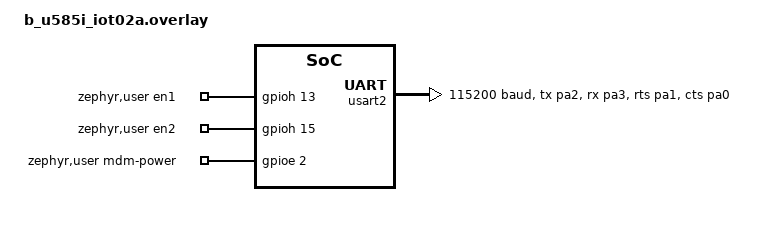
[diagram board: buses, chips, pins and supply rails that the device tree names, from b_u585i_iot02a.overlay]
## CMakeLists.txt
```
# Copyright (c) 2023 Trackunit Corporation
# SPDX-License-Identifier: Apache-2.0

cmake_minimum_required(VERSION 3.20.0)

find_package(Zephyr REQUIRED HINTS $ENV{ZEPHYR_BASE})
project(modem_sample)

target_sources(app PRIVATE "src/main.c")
```

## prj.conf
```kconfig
# Copyright (c) 2023 Trackunit Corporation
# SPDX-License-Identifier: Apache-2.0

# Modem modules
CONFIG_MODEM_MODULES=y
CONFIG_MODEM_CHAT=y
CONFIG_MODEM_CMUX=y
CONFIG_MODEM_PPP=y
CONFIG_MODEM_BACKEND_UART=y

# Networking
CONFIG_NETWORKING=y
CONFIG_NET_L2_PPP=y
CONFIG_NET_IPV4=y
CONFIG_LOG=y
CONFIG_LOG_DEFAULT_LEVEL=2

# Network management
CONFIG_NET_MGMT=y
CONFIG_NET_MGMT_EVENT=y
CONFIG_NET_CONNECTION_MANAGER=y

# Board specific configs
CONFIG_GPIO=y
CONFIG_UART_STM32=y
CONFIG_UART_INTERRUPT_DRIVEN=y
```

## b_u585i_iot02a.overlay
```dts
/ {
    aliases {
        modem-uart = &usart2;
    };

    zephyr,user {
        en1-gpios = <&gpioh 13 GPIO_ACTIVE_HIGH>;
        en2-gpios = <&gpioh 15 GPIO_ACTIVE_HIGH>;
        mdm-power-gpios = <&gpioe 2 GPIO_ACTIVE_HIGH>;
    };
};

/* BG95 */
&usart2 {
    pinctrl-0 = <&usart2_tx_pa2 &usart2_rx_pa3 &usart2_rts_pa1 &usart2_cts_pa0>;
    pinctrl-names = "default";
    current-speed = <115200>;
    status = "okay";
    hw-flow-control;
};
```

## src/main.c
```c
/*
 * Copyright (c) 2022 Trackunit Corporation
 *
 * SPDX-License-Identifier: Apache-2.0
 */

/*************************************************************************************************/
/*                                        Dependencies                                           */
/*************************************************************************************************/
#include <zephyr/kernel.h>
#include <zephyr/modem/chat.h>
#include <zephyr/modem/cmux.h>
#include <zephyr/modem/pipe.h>
#include <zephyr/modem/ppp.h>
#include <zephyr/modem//backend/uart.h>
#include <zephyr/net/ppp.h>
#include <zephyr/pm/device.h>
#include <zephyr/drivers/gpio.h>

#include <string.h>
#include <stdlib.h>

/*************************************************************************************************/
/*                                         Definitions                                           */
/*************************************************************************************************/
#warning "Please update the following defines to match your modem"
#define SAMPLE_APN  "\"trackunit.m2m\""
#define SAMPLE_CMUX "AT+CMUX=0,0,5,127,10,3,30,10,2"

/*************************************************************************************************/
/*                                           Devices                                             */
/*************************************************************************************************/
const struct device *modem_uart = DEVICE_DT_GET(DT_ALIAS(modem_uart));

/*************************************************************************************************/
/*                                            Events                                             */
/*************************************************************************************************/
#define SAMPLE_EVENT_SCRIPT_SUCCESS	 BIT(0)
#define SAMPLE_EVENT_SCRIPT_ABORT	 BIT(1)
#define SAMPLE_EVENT_SCRIPT_TIMEOUT	 BIT(2)
#define SAMPLE_EVENT_CMUX_CONNECTED	 BIT(3)
#define SAMPLE_EVENT_CMUX_DLCI1_OPENED	 BIT(4)
#define SAMPLE_EVENT_CMUX_DLCI1_CLOSED	 BIT(5)
#define SAMPLE_EVENT_CMUX_DLCI2_OPENED	 BIT(6)
#define SAMPLE_EVENT_CMUX_DLCI2_CLOSED	 BIT(7)
#define SAMPLE_EVENT_CMUX_DISCONNECTED	 BIT(8)
#define SAMPLE_EVENT_NET_L4_CONNECTED	 BIT(9)
#define SAMPLE_EVENT_NET_L4_DISCONNECTED BIT(10)
#define SAMPLE_EVENT_NET_L4_DISCONNECTED BIT(10)
#define SAMPLE_EVENT_NET_L4_DISCONNECTED BIT(10)

static struct k_event sample_event;

/*************************************************************************************************/
/*                                        Modem pipe UART                                        */
/*************************************************************************************************/
static struct modem_backend_uart uart_backend;
static uint8_t backend_uart_receive_buf[512];
static uint8_t backend_uart_transmit_buf[256];
static struct modem_pipe *uart_pipe;

/*************************************************************************************************/
/*                                         Modem CMUX                                            */
/*************************************************************************************************/
static struct modem_cmux cmux;
static uint8_t cmux_receive_buf[128];
static uint8_t cmux_transmit_buf[256];
static struct modem_cmux_dlci dlci1;
static struct modem_cmux_dlci dlci2;
static struct modem_pipe *dlci1_pipe;
static struct modem_pipe *dlci2_pipe;

static uint8_t dlci1_receive_buf[128];
static uint8_t dlci2_receive_buf[128];

static void modem_cmux_callback_handler(struct modem_cmux *cmux, enum modem_cmux_event event,
					void *user_data)
{
	switch (event) {
	case MODEM_CMUX_EVENT_CONNECTED:
		k_event_post(&sample_event, SAMPLE_EVENT_CMUX_CONNECTED);
		break;

	case MODEM_CMUX_EVENT_DISCONNECTED:
		k_event_post(&sample_event, SAMPLE_EVENT_CMUX_DISCONNECTED);
		break;
	}
}

/*************************************************************************************************/
/*                                         Modem chat                                            */
/*************************************************************************************************/
static struct modem_chat chat;
static uint8_t chat_receive_buf[128];
static uint8_t chat_delimiter[] = {'\r'};
static uint8_t chat_filter[1] = {'\n'};
static uint8_t *chat_argv[32];

/*************************************************************************************************/
/*                                          Modem PPP                                            */
/*************************************************************************************************/
static void ppp_iface_init(struct net_if *iface)
{
}

MODEM_PPP_DEFINE(ppp, ppp_iface_init, 41, 1500, 64, 8);

/*************************************************************************************************/
/*                                     Chat script matches                                       */
/*************************************************************************************************/
static uint8_t imei[15];
static uint8_t hwinfo[64];
static uint8_t access_tech;
static uint8_t registration_status;
static uint8_t packet_service_attached;

static void on_imei(struct modem_chat *chat, char **argv, uint16_t argc, void *user_data)
{
	if (argc != 2) {
		return;
	}

	if (strlen(argv[1]) != 15) {
		return;
	}

	for (uint8_t i = 0; i < 15; i++) {
		imei[i] = argv[1][i] - '0';
	}
}

static void on_cgmm(struct modem_chat *chat, char **argv, uint16_t argc, void *user_data)
{
	if (argc != 2) {
		return;
	}

	strncpy(hwinfo, argv[1], sizeof(hwinfo) - 1);
}

static void on_creg(struct modem_chat *chat, char **argv, uint16_t argc, void *user_data)
{
	if (argc != 3) {
		return;
	}

	access_tech = atoi(argv[1]);
	registration_status = atoi(argv[2]);
}

static void on_cgatt(struct modem_chat *chat, char **argv, uint16_t argc, void *user_data)
{
	if (argc != 2) {
		return;
	}

	packet_service_attached = atoi(argv[1]);
}

MODEM_CHAT_MATCH_DEFINE(ok_match, "OK", "", NULL);
MODEM_CHAT_MATCH_DEFINE(imei_match, "", "", on_imei);
MODEM_CHAT_MATCH_DEFINE(cgmm_match, "", "", on_cgmm);
MODEM_CHAT_MATCH_DEFINE(creg_match, "+CREG: ", ",", on_creg);
MODEM_CHAT_MATCH_DEFINE(cgatt_match, "+CGATT: ", ",", on_cgatt);
MODEM_CHAT_MATCH_DEFINE(connect_match, "CONNECT ", "", NULL);

/*************************************************************************************************/
/*                                  Chat script abort matches                                    */
/*************************************************************************************************/
MODEM_CHAT_MATCHES_DEFINE(abort_matches, MODEM_CHAT_MATCH("ERROR", "", NULL),
			  MODEM_CHAT_MATCH("BUSY", "", NULL),
			  MODEM_CHAT_MATCH("NO ANSWER", "", NULL),
			  MODEM_CHAT_MATCH("NO CARRIER", "", NULL),
			  MODEM_CHAT_MATCH("NO DIALTONE", "", NULL));

/*************************************************************************************************/
/*                                    Chat script callback                                       */
/*************************************************************************************************/
static void modem_chat_callback_handler(struct modem_chat *chat,
					enum modem_chat_script_result result, void *user_data)
{
	switch (result) {
	case MODEM_CHAT_SCRIPT_RESULT_SUCCESS:
		k_event_post(&sample_event, SAMPLE_EVENT_SCRIPT_SUCCESS);
		break;

	case MODEM_CHAT_SCRIPT_RESULT_ABORT:
		k_event_post(&sample_event, SAMPLE_EVENT_SCRIPT_ABORT);
		break;

	case MODEM_CHAT_SCRIPT_RESULT_TIMEOUT:
		k_event_post(&sample_event, SAMPLE_EVENT_SCRIPT_TIMEOUT);
		break;
	}
}

/*************************************************************************************************/
/*                                 Initialization chat script                                    */
/*************************************************************************************************/
MODEM_CHAT_SCRIPT_CMDS_DEFINE(init_chat_script_cmds, MODEM_CHAT_SCRIPT_CMD_RESP_NONE("AT", 100),
			      MODEM_CHAT_SCRIPT_CMD_RESP_NONE("AT", 100),
			      MODEM_CHAT_SCRIPT_CMD_RESP_NONE("AT", 100),
			      MODEM_CHAT_SCRIPT_CMD_RESP_NONE("AT", 100),
			      MODEM_CHAT_SCRIPT_CMD_RESP("ATE0", ok_match),
			      MODEM_CHAT_SCRIPT_CMD_RESP("ATH", ok_match),
			      MODEM_CHAT_SCRIPT_CMD_RESP("AT+CMEE=1", ok_match),
			      MODEM_CHAT_SCRIPT_CMD_RESP("AT+CREG=0", ok_match),
			      MODEM_CHAT_SCRIPT_CMD_RESP("AT+CGSN", imei_match),
			      MODEM_CHAT_SCRIPT_CMD_RESP("", ok_match),
			      MODEM_CHAT_SCRIPT_CMD_RESP("AT+CGMM", cgmm_match),
			      MODEM_CHAT_SCRIPT_CMD_RESP("", ok_match),
			      MODEM_CHAT_SCRIPT_CMD_RESP(SAMPLE_CMUX, ok_match));

MODEM_CHAT_SCRIPT_DEFINE(init_chat_script, init_chat_script_cmds, abort_matches,
			 modem_chat_callback_handler, 10);

/*************************************************************************************************/
/*                                    Network status script                                      */
/*************************************************************************************************/
MODEM_CHAT_SCRIPT_CMDS_DEFINE(net_stat_chat_script_cmds,
			      MODEM_CHAT_SCRIPT_CMD_RESP("AT+CREG?", creg_match),
			      MODEM_CHAT_SCRIPT_CMD_RESP("", ok_match),
			      MODEM_CHAT_SCRIPT_CMD_RESP("AT+CGATT?", cgatt_match),
			      MODEM_CHAT_SCRIPT_CMD_RESP("", ok_match));

MODEM_CHAT_SCRIPT_DEFINE(net_stat_chat_script, net_stat_chat_script_cmds, abort_matches,
			 modem_chat_callback_handler, 10);

/*************************************************************************************************/
/*                                     Connect chat script                                       */
/*************************************************************************************************/
MODEM_CHAT_SCRIPT_CMDS_DEFINE(connect_chat_script_cmds,
			      MODEM_CHAT_SCRIPT_CMD_RESP("AT+CGDCONT=1,\"IP\"," SAMPLE_APN,
							 ok_match),
			      MODEM_CHAT_SCRIPT_CMD_RESP("ATD*99#", connect_match));

MODEM_CHAT_SCRIPT_DEFINE(connect_chat_script, connect_chat_script_cmds, abort_matches,
			 modem_chat_callback_handler, 120);

/*************************************************************************************************/
/*                                       Network manager                                         */
/*************************************************************************************************/
static struct net_mgmt_event_callback mgmt_cb;

static void net_mgmt_event_callback_handler(struct net_mgmt_event_callback *cb, uint32_t mgmt_event,
					    struct net_if *iface)
{
	if (mgmt_event == NET_EVENT_L4_CONNECTED) {
		k_event_post(&sample_event, SAMPLE_EVENT_NET_L4_CONNECTED);
	}

	if (mgmt_event == NET_EVENT_L4_DISCONNECTED) {
		k_event_post(&sample_event, SAMPLE_EVENT_NET_L4_DISCONNECTED);
	}
}

/*************************************************************************************************/
/*                                           Helpers                                             */
/*************************************************************************************************/
static void chat_script_reset(void)
{
	k_event_clear(&sample_event, (SAMPLE_EVENT_SCRIPT_SUCCESS | SAMPLE_EVENT_SCRIPT_ABORT |
				      SAMPLE_EVENT_SCRIPT_TIMEOUT));
}

static bool chat_script_wait(void)
{
	uint32_t events;

	events = k_event_wait(&sample_event,
			      (SAMPLE_EVENT_SCRIPT_SUCCESS | SAMPLE_EVENT_SCRIPT_ABORT |
			       SAMPLE_EVENT_SCRIPT_TIMEOUT),
			      false, K_FOREVER);

	return ((events & SAMPLE_EVENT_SCRIPT_SUCCESS) == 0) ? false : true;
}

static bool event_wait_all(uint32_t events, bool reset)
{
	uint32_t match_events;

	match_events = k_event_wait_all(&sample_event, events, reset, K_FOREVER);

	return (match_events == 0) ? false : true;
}

static void board_init(void)
{
#ifdef CONFIG_BOARD_B_U585I_IOT02A
	const struct gpio_dt_spec en1_gpio = GPIO_DT_SPEC_GET(DT_PATH(zephyr_user), en1_gpios);
	const struct gpio_dt_spec en2_gpio = GPIO_DT_SPEC_GET(DT_PATH(zephyr_user), en2_gpios);

	gpio_pin_configure_dt(&en1_gpio, GPIO_OUTPUT_ACTIVE);
	gpio_pin_configure_dt(&en2_gpio, GPIO_OUTPUT_ACTIVE);
#endif
}

/*************************************************************************************************/
/*                                           Program                                             */
/*************************************************************************************************/
void main(void)
{
	int ret;

	board_init();

	/*
	 * Initialize network management event callback. It is not a requirement.
	 */
	net_mgmt_init_event_callback(&mgmt_cb, net_mgmt_event_callback_handler,
				     (NET_EVENT_L4_CONNECTED | NET_EVENT_L4_DISCONNECTED));

	net_mgmt_add_event_callback(&mgmt_cb);

	/*
	 * Initialize the modem pipe to UART module. This pipe is used to send raw data to the
	 * cellular modem using the UART.
	 */
	const struct modem_backend_uart_config backend_uart_config = {
		.uart = modem_uart,
		.receive_buf = backend_uart_receive_buf,
		.receive_buf_size = ARRAY_SIZE(backend_uart_receive_buf),
		.transmit_buf = backend_uart_transmit_buf,
		.transmit_buf_size = ARRAY_SIZE(backend_uart_transmit_buf),
	};

	uart_pipe = modem_backend_uart_init(&uart_backend, &backend_uart_config);

	ret = modem_pipe_open(uart_pipe);
	if (ret < 0) {
		return;
	}

	/*
	 * Initialize the modem CMUX module. CMUX is used to create multiple virtual channels
	 * between the modem and the host. This allows for sending PPP traffic alongside AT
	 * commands on a single serial connection like UART.
	 */
	const struct modem_cmux_config cmux_config = {
		.callback = modem_cmux_callback_handler,
		.user_data = NULL,
		.receive_buf = cmux_receive_buf,
		.receive_buf_size = ARRAY_SIZE(cmux_receive_buf),
		.transmit_buf = cmux_transmit_buf,
		.transmit_buf_size = ARRAY_SIZE(cmux_transmit_buf),
	};

	/* Initialize DLCI channels */
	const struct modem_cmux_dlci_config dlci1_config = {
		.dlci_address = 1,
		.receive_buf = dlci1_receive_buf,
		.receive_buf_size = ARRAY_SIZE(dlci1_receive_buf),
	};

	const struct modem_cmux_dlci_config dlci2_config = {
		.dlci_address = 2,
		.receive_buf = dlci2_receive_buf,
		.receive_buf_size = ARRAY_SIZE(dlci2_receive_buf),
	};

	modem_cmux_init(&cmux, &cmux_config);

	dlci1_pipe = modem_cmux_dlci_init(&cmux, &dlci1, &dlci1_config);

	dlci2_pipe = modem_cmux_dlci_init(&cmux, &dlci2, &dlci2_config);

	/*
	 * Initialize the modem chat module. Chat scripts are executed using this module. A chat
	 * script is used to send and receive text commands to and from the modem
	 */
	const struct modem_chat_config chat_config = {
		.user_data = NULL,
		.receive_buf = chat_receive_buf,
		.receive_buf_size = ARRAY_SIZE(chat_receive_buf),
		.delimiter = chat_delimiter,
		.delimiter_size = ARRAY_SIZE(chat_delimiter),
		.filter = chat_filter,
		.filter_size = ARRAY_SIZE(chat_filter),
		.argv = chat_argv,
		.argv_size = ARRAY_SIZE(chat_argv),
		.unsol_matches = NULL,
		.unsol_matches_size = 0,
		.process_timeout = K_MSEC(2),
	};

	ret = modem_chat_init(&chat, &chat_config);
	if (ret < 0) {
		return;
	}

	/* Initialize chat script result callback sem */
	k_event_init(&sample_event);

	/* Power on cellular modem
	pm_device_action_run(modem_uart, PM_DEVICE_ACTION_TURN_ON);
	pm_device_action_run(modem_uart, PM_DEVICE_ACTION_RESUME);
	*/

	/* Attach modem chat module to bus pipe */
	ret = modem_chat_attach(&chat, uart_pipe);
	if (ret < 0) {
		return;
	}

	chat_script_reset();

	/* Send initialization script */
	ret = modem_chat_script_run(&chat, &init_chat_script);
	if (ret < 0) {
		return;
	}

	/* Wait for script execution complete */
	if (chat_script_wait() == false) {
		return;
	}

	/* Set IMEI as net link address */
	net_if_set_link_addr(modem_ppp_get_iface(&ppp), imei, ARRAY_SIZE(imei), NET_LINK_UNKNOWN);

	/* Release bus pipe */
	modem_chat_release(&chat);

	/* Give modem time to enter CMUX mode */
	k_msleep(300);

	ret = modem_cmux_attach(&cmux, uart_pipe);
	if (ret < 0) {
		return;
	}

	/* Attach CMUX module to bus pipe which is now in CMUX mode and set up CMUX */
	ret = modem_cmux_connect_async(&cmux);
	if (ret < 0) {
		return;
	}

	/* Wait for CMUX connected */
	if (event_wait_all(SAMPLE_EVENT_CMUX_CONNECTED, false) == false) {
		return;
	}

	printk("CMUX connected\n");

	/* Open CMUX channels */
	ret = modem_pipe_open(dlci1_pipe);
	if (ret < 0) {
		return;
	}

	ret = modem_pipe_open(dlci2_pipe);
	if (ret < 0) {
		return;
	}

	printk("Opened DLCI CMUX channels\n");

	/* Attach modem chat module to DLCI channel 2 */
	ret = modem_chat_attach(&chat, dlci2_pipe);
	if (ret < 0) {
		return;
	}

	printk("Chat connected to DLCI2\n");

	chat_script_reset();

	/* Run connect script */
	ret = modem_chat_script_run(&chat, &connect_chat_script);
	if (ret < 0) {
		return;
	}

	/* Wait for script execution complete */
	if (chat_script_wait() == false) {
		return;
	}

	/* Release modem chat module from DLCI channel 2 */
	modem_chat_release(&chat);

	k_msleep(500);

	printk("Chat disconnected\n");

	/* Attach modem chat module to DLCI channel 1 */
	ret = modem_chat_attach(&chat, dlci1_pipe);
	if (ret < 0) {
		return;
	}

	/* Attach modem PPP module to DLCI channel 2 which is now in PPP mode */
	ret = modem_ppp_attach(&ppp, dlci2_pipe);
	if (ret < 0) {
		return;
	}

	k_msleep(500);

	printk("Chat connected to DLCI1\n");
	printk("PPP connected to DLCI2\n");

	/* Wait for cellular modem registered to network */
	while (1) {
		chat_script_reset();

		/* Run net stat script */
		ret = modem_chat_script_run(&chat, &net_stat_chat_script);
		if (ret < 0) {
			return;
		}

		/* Wait for script execution complete */
		if (chat_script_wait() == false) {
			return;
		}

		/* Check network status */
		if ((registration_status == 5) && (packet_service_attached == 1)) {
			printk("Modem registered to network\n");

			break;
		}

		k_msleep(5000);
	}

	printk("Bringing up network\n");

	/* Bring up PPP network interface */
	net_ppp_carrier_on(modem_ppp_get_iface(&ppp));

	/* Wait for network layer 4 connected */
	if (event_wait_all(SAMPLE_EVENT_NET_L4_CONNECTED, false) == false) {
		return;
	}

	printk("Network L4 connected\n");

	k_msleep(5000);

	/* Bring down PPP network interface */
	net_ppp_carrier_off(modem_ppp_get_iface(&ppp));

	/* Wait for network layer 4 disconnected */
	if (event_wait_all(SAMPLE_EVENT_NET_L4_DISCONNECTED, false) == false) {
		return;
	}

	printk("Network L4 disconnected\n");

	k_msleep(500);

	printk("Releasing chat and PPP\n");

	/* Release modem chat module from DLCI channel 1 */
	modem_chat_release(&chat);

	/* Release modem PPP module from DLCI channel 2 */
	modem_ppp_release(&ppp);

	printk("Closing DLCI 1 and 2\n");

	/* Close CMUX channels */
	ret = modem_pipe_close(dlci1_pipe);
	if (ret < 0) {
		return;
	}

	ret = modem_pipe_close(dlci2_pipe);
	if (ret < 0) {
		return;
	}

	k_msleep(500);

	printk("Disconnecting CMUX\n");

	/* Disconnect CMUX module */
	modem_cmux_disconnect_async(&cmux);

	k_msleep(500);

	modem_cmux_release(&cmux);

	printk("Sample complete\n");
}
```
